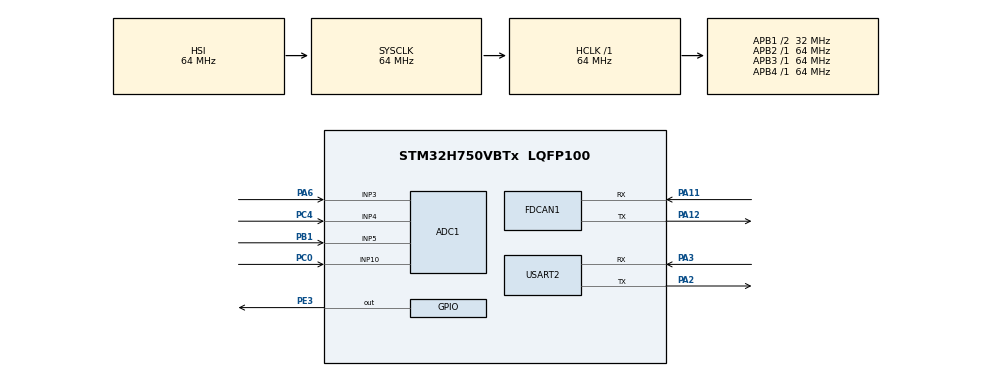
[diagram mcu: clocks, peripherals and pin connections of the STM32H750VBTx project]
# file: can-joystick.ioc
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ADC1.Channel-3\#ChannelRegularConversion=ADC_CHANNEL_3
ADC1.Channel-4\#ChannelRegularConversion=ADC_CHANNEL_4
ADC1.Channel-5\#ChannelRegularConversion=ADC_CHANNEL_5
ADC1.Channel-6\#ChannelRegularConversion=ADC_CHANNEL_10
ADC1.ConversionDataManagement=ADC_CONVERSIONDATA_DMA_ONESHOT
ADC1.NbrOfConversion=4
ADC1.NbrOfConversionFlag=1
ADC1.OffsetNumber-3\#ChannelRegularConversion=ADC_OFFSET_NONE
ADC1.OffsetNumber-4\#ChannelRegularConversion=ADC_OFFSET_NONE
ADC1.OffsetNumber-5\#ChannelRegularConversion=ADC_OFFSET_NONE
ADC1.OffsetNumber-6\#ChannelRegularConversion=ADC_OFFSET_NONE
ADC1.OffsetSignedSaturation-3\#ChannelRegularConversion=DISABLE
ADC1.OffsetSignedSaturation-4\#ChannelRegularConversion=DISABLE
ADC1.OffsetSignedSaturation-5\#ChannelRegularConversion=DISABLE
ADC1.OffsetSignedSaturation-6\#ChannelRegularConversion=DISABLE
ADC1.OversamplingMode=ENABLE
ADC1.Rank-3\#ChannelRegularConversion=1
ADC1.Rank-4\#ChannelRegularConversion=2
ADC1.Rank-5\#ChannelRegularConversion=3
ADC1.Rank-6\#ChannelRegularConversion=4
ADC1.Ratio=1024
ADC1.RightBitShift=ADC_RIGHTBITSHIFT_10
ADC1.SamplingTime-3\#ChannelRegularConversion=ADC_SAMPLETIME_8CYCLES_5
ADC1.SamplingTime-4\#ChannelRegularConversion=ADC_SAMPLETIME_8CYCLES_5
ADC1.SamplingTime-5\#ChannelRegularConversion=ADC_SAMPLETIME_8CYCLES_5
ADC1.SamplingTime-6\#ChannelRegularConversion=ADC_SAMPLETIME_1CYCLE_5
ADC1.master=1
CORTEX_M7.default_mode_Activation=1
Dma.ADC1.0.Direction=DMA_PERIPH_TO_MEMORY
Dma.ADC1.0.EventEnable=DISABLE
Dma.ADC1.0.FIFOMode=DMA_FIFOMODE_ENABLE
Dma.ADC1.0.FIFOThreshold=DMA_FIFO_THRESHOLD_FULL
Dma.ADC1.0.Instance=DMA1_Stream0
Dma.ADC1.0.MemBurst=DMA_MBURST_SINGLE
Dma.ADC1.0.MemDataAlignment=DMA_MDATAALIGN_HALFWORD
Dma.ADC1.0.MemInc=DMA_MINC_ENABLE
Dma.ADC1.0.Mode=DMA_NORMAL
Dma.ADC1.0.PeriphBurst=DMA_PBURST_SINGLE
Dma.ADC1.0.PeriphDataAlignment=DMA_PDATAALIGN_HALFWORD
Dma.ADC1.0.PeriphInc=DMA_PINC_DISABLE
Dma.ADC1.0.Polarity=HAL_DMAMUX_REQ_GEN_RISING
Dma.ADC1.0.Priority=DMA_PRIORITY_LOW
Dma.ADC1.0.RequestNumber=1
Dma.ADC1.0.SignalID=NONE
Dma.ADC1.0.SyncEnable=DISABLE
Dma.ADC1.0.SyncPolarity=HAL_DMAMUX_SYNC_NO_EVENT
Dma.ADC1.0.SyncRequestNumber=1
Dma.ADC1.0.SyncSignalID=NONE
Dma.Request0=ADC1
FDCAN1.AutoRetransmission=DISABLE
FDCAN1.CalculateBaudRateNominal=500000
FDCAN1.CalculateTimeBitNominal=2000
FDCAN1.CalculateTimeQuantumNominal=200.0
FDCAN1.NominalPrescaler=2
FDCAN1.NominalTimeSeg1=7
FDCAN1.NominalTimeSeg2=2
FDCAN1.TxBuffersNbr=1
FDCAN1.TxFifoQueueElmtsNbr=4
Mcu.Family=STM32H7
Mcu.Name=STM32H750VBTx
Mcu.Package=LQFP100
NVIC.DMA1_Stream0_IRQn=true\:0\:0\:false\:false\:true\:false\:true\:true
NVIC.PriorityGroup=NVIC_PRIORITYGROUP_4
PA11.Mode=FDCAN_Activate
PA11.Signal=FDCAN1_RX
PA12.Mode=FDCAN_Activate
PA12.Signal=FDCAN1_TX
PA2.Mode=Asynchronous
PA2.Signal=USART2_TX
PA3.Mode=Asynchronous
PA3.Signal=USART2_RX
PA6.Signal=ADCx_INP3
PB1.Signal=ADCx_INP5
PC0.Signal=ADCx_INP10
PC4.Signal=ADCx_INP4
PE3.Signal=GPIO_Output
ProjectManager.HeapSize=0x200
ProjectManager.StackSize=0x400
ProjectManager.TargetToolchain=STM32CubeIDE
RCC.ADCFreq_Value=8000000
RCC.APB1Freq_Value=32000000
RCC.APB2Freq_Value=64000000
RCC.APB3Freq_Value=64000000
RCC.APB4Freq_Value=64000000
RCC.CortexFreq_Value=64000000
RCC.D2PPRE1=RCC_APB1_DIV2
RCC.DIVM1=4
RCC.DIVM2=4
RCC.DIVN1=10
RCC.DIVN2=10
RCC.DIVP2=20
RCC.DIVQ1=16
RCC.HCLKFreq_Value=64000000
RCC.PLL1_VCI_Range=RCC_PLL1VCIRANGE_3
RCC.PLL2FRACN=0
RCC.PLLFRACN=0
RCC.SYSCLKFreq_VALUE=64000000
RCC.USBFreq_Value=10000000
SH.ADCx_INP10.0=ADC1_INP10,IN10-Single-Ended
SH.ADCx_INP3.0=ADC1_INP3,IN3-Single-Ended
SH.ADCx_INP4.0=ADC1_INP4,IN4-Single-Ended
SH.ADCx_INP5.0=ADC1_INP5,IN5-Single-Ended
USART2.TxPinLevelInvertParam=ADVFEATURE_TXINV_ENABLE
USART2.VirtualMode-Asynchronous=VM_ASYNC
VP_MEMORYMAP_VS_MEMORYMAP.Mode=CurAppReg
board=custom

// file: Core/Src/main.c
/* USER CODE BEGIN Header */
/**
  ******************************************************************************
  * @file           : main.c
  * @brief          : Main program body
  ******************************************************************************
  * @attention
  *
  * Copyright (c) 2025 STMicroelectronics.
  * All rights reserved.
  *
  * This software is licensed under terms that can be found in the LICENSE file
  * in the root directory of this software component.
  * If no LICENSE file comes with this software, it is provided AS-IS.
  *
  ******************************************************************************
  */
/* USER CODE END Header */
#include "main.h"

/* USER CODE BEGIN Includes */
#include "stdio.h"

#include "joystick.h"
/* USER CODE END Includes */

/* USER CODE BEGIN PD */
#define BAUD_RATE_125 8
#define BAUD_RATE_250 4
#define BAUD_RATE_500 2
#define BAUD_RATE_1000 1
/* USER CODE END PD */

ADC_HandleTypeDef hadc1;
DMA_HandleTypeDef hdma_adc1;

FDCAN_HandleTypeDef hfdcan1;

UART_HandleTypeDef huart2;

/* USER CODE BEGIN PV */

// DMA transfer status
volatile uint32_t adc1_conversion_complete_flag = 0;
volatile uint32_t adc1_conversion_error_code = 0;

FDCAN_RxHeaderTypeDef RxHeader;
uint8_t RxData[8];
FDCAN_TxHeaderTypeDef TxHeader;
uint8_t TxData[8];

/* USER CODE END PV */

void SystemClock_Config(void);
static void MPU_Config(void);
static void MX_GPIO_Init(void);
static void MX_DMA_Init(void);
static void MX_USART2_UART_Init(void);
static void MX_ADC1_Init(void);
static void MX_FDCAN1_Init(void);

/* USER CODE BEGIN 0 */

void HAL_ADC_ErrorCallback(ADC_HandleTypeDef *hadc)
{
	adc1_conversion_error_code = 1;
}

void HAL_ADC_ConvCpltCallback(ADC_HandleTypeDef *hadc)
{
	adc1_conversion_complete_flag = 1;
}

void HAL_ADC_ConvHalfCpltCallback(ADC_HandleTypeDef *hadc)
{
	adc1_conversion_complete_flag = 1;
}

static void LED_Blink(uint32_t Hdelay,uint32_t Ldelay)
{
	HAL_GPIO_WritePin(GPIOE, GPIO_PIN_3, GPIO_PIN_SET);
	HAL_Delay(Hdelay - 1);
	HAL_GPIO_WritePin(GPIOE, GPIO_PIN_3, GPIO_PIN_RESET);
	HAL_Delay(Ldelay - 1);
	//HAL_DMA_IRQHandler(hdma)
}

/* USER CODE END 0 */

int main(void)
{

  /* USER CODE BEGIN 1 */
  //__enable_irq();
  /* USER CODE END 1 */

  /* MPU Configuration--------------------------------------------------------*/
  MPU_Config();

  /* MCU Configuration--------------------------------------------------------*/

  /* Reset of all peripherals, Initializes the Flash interface and the Systick. */
  HAL_Init();

  /* Configure the system clock */
  SystemClock_Config();

  /* Initialize all configured peripherals */
  MX_GPIO_Init();
  MX_DMA_Init();
  MX_USART2_UART_Init();
  MX_ADC1_Init();
  MX_FDCAN1_Init();
  /* USER CODE BEGIN 2 */
  RetargetInit(&huart2);
  /* USER CODE END 2 */

  /* Infinite loop */
  /* USER CODE BEGIN WHILE */
  uint32_t ctr = 0;
  uint16_t adc_read = 0;

  struct joystick_t joy = joystick_new(&hadc1);

  FDCAN_Config();

  HAL_ADCEx_Calibration_Start(&hadc1, ADC_CALIB_OFFSET, ADC_SINGLE_ENDED);

  while (1)
  {
    /* USER CODE END WHILE */

    /* USER CODE BEGIN 3 */
	  LED_Blink(100,100);

	  // HAL_ADC_Start(&hadc1);
	  HAL_Delay(100);

	  joystick_read(&joy);

	  adc_read = joystick_get_sensor1_mV(&joy);
	  printf("ADC out: %u, %u, %i, %i, %u\r\n", joystick_get_sensor1_mV(&joy), joystick_get_sensor2_mV(&joy), joystick_get_throttle1_permille(&joy), joystick_get_throttle2_permille(&joy), joystick_get_vcc_mV(&joy));
//
//	  //HAL_ADC_Start_DMA(&hadc1,(uint32_t*)&adc_read,1);
//	  if (HAL_ADC_PollForConversion(&hadc1, 10) == 0) {
//		  uint32_t v = HAL_ADC_GetValue(&hadc1);
//		  printf("ADC out: %u\r\n", v);
//	  }
////	  //printf("%lu\n", adc_read);
//	  HAL_ADC_Stop(&hadc1);
//	  //printf();

	  memcpy(TxData, &adc_read, 2);
	  /* Start the Transmission process */
	  if (HAL_FDCAN_AddMessageToTxFifoQ(&hfdcan1, &TxHeader, TxData) != HAL_OK)
	  {
	      /* Transmission request Error */
		  Error_Handler();
	  }
	  //uint8_t b = 0x01;
	  //HAL_UART_Transmit(&huart2, (uint8_t *) "TEST\n", 5, HAL_MAX_DELAY);
	  //HAL_UART_Transmit(&huart2, (uint8_t *) &b, 1, HAL_MAX_DELAY);
  }
  /* USER CODE END 3 */
}

void SystemClock_Config(void)
{
  RCC_OscInitTypeDef RCC_OscInitStruct = {0};
  RCC_ClkInitTypeDef RCC_ClkInitStruct = {0};

  /** Supply configuration update enable
  */
  HAL_PWREx_ConfigSupply(PWR_LDO_SUPPLY);

  /** Configure the main internal regulator output voltage
  */
  __HAL_PWR_VOLTAGESCALING_CONFIG(PWR_REGULATOR_VOLTAGE_SCALE3);

  while(!__HAL_PWR_GET_FLAG(PWR_FLAG_VOSRDY)) {}

  /** Initializes the RCC Oscillators according to the specified parameters
  * in the RCC_OscInitTypeDef structure.
  */
  RCC_OscInitStruct.OscillatorType = RCC_OSCILLATORTYPE_HSI;
  RCC_OscInitStruct.HSIState = RCC_HSI_DIV1;
  RCC_OscInitStruct.HSICalibrationValue = RCC_HSICALIBRATION_DEFAULT;
  RCC_OscInitStruct.PLL.PLLState = RCC_PLL_ON;
  RCC_OscInitStruct.PLL.PLLSource = RCC_PLLSOURCE_HSI;
  RCC_OscInitStruct.PLL.PLLM = 4;
  RCC_OscInitStruct.PLL.PLLN = 10;
  RCC_OscInitStruct.PLL.PLLP = 2;
  RCC_OscInitStruct.PLL.PLLQ = 16;
  RCC_OscInitStruct.PLL.PLLR = 2;
  RCC_OscInitStruct.PLL.PLLRGE = RCC_PLL1VCIRANGE_3;
  RCC_OscInitStruct.PLL.PLLVCOSEL = RCC_PLL1VCOMEDIUM;
  RCC_OscInitStruct.PLL.PLLFRACN = 0;
  if (HAL_RCC_OscConfig(&RCC_OscInitStruct) != HAL_OK)
  {
    Error_Handler();
  }

  /** Initializes the CPU, AHB and APB buses clocks
  */
  RCC_ClkInitStruct.ClockType = RCC_CLOCKTYPE_HCLK|RCC_CLOCKTYPE_SYSCLK
                              |RCC_CLOCKTYPE_PCLK1|RCC_CLOCKTYPE_PCLK2
                              |RCC_CLOCKTYPE_D3PCLK1|RCC_CLOCKTYPE_D1PCLK1;
  RCC_ClkInitStruct.SYSCLKSource = RCC_SYSCLKSOURCE_HSI;
  RCC_ClkInitStruct.SYSCLKDivider = RCC_SYSCLK_DIV1;
  RCC_ClkInitStruct.AHBCLKDivider = RCC_HCLK_DIV1;
  RCC_ClkInitStruct.APB3CLKDivider = RCC_APB3_DIV1;
  RCC_ClkInitStruct.APB1CLKDivider = RCC_APB1_DIV2;
  RCC_ClkInitStruct.APB2CLKDivider = RCC_APB2_DIV1;
  RCC_ClkInitStruct.APB4CLKDivider = RCC_APB4_DIV1;

  if (HAL_RCC_ClockConfig(&RCC_ClkInitStruct, FLASH_LATENCY_1) != HAL_OK)
  {
    Error_Handler();
  }
}

static void MX_ADC1_Init(void)
{

  ADC_MultiModeTypeDef multimode = {0};
  ADC_ChannelConfTypeDef sConfig = {0};

  /** Common config
  */
  hadc1.Instance = ADC1;
  hadc1.Init.ClockPrescaler = ADC_CLOCK_ASYNC_DIV1;
  hadc1.Init.Resolution = ADC_RESOLUTION_16B;
  hadc1.Init.ScanConvMode = ADC_SCAN_ENABLE;
  hadc1.Init.EOCSelection = ADC_EOC_SINGLE_CONV;
  hadc1.Init.LowPowerAutoWait = DISABLE;
  hadc1.Init.ContinuousConvMode = DISABLE;
  hadc1.Init.NbrOfConversion = 4;
  hadc1.Init.DiscontinuousConvMode = DISABLE;
  hadc1.Init.ExternalTrigConv = ADC_SOFTWARE_START;
  hadc1.Init.ExternalTrigConvEdge = ADC_EXTERNALTRIGCONVEDGE_NONE;
  hadc1.Init.ConversionDataManagement = ADC_CONVERSIONDATA_DMA_ONESHOT;
  hadc1.Init.Overrun = ADC_OVR_DATA_PRESERVED;
  hadc1.Init.LeftBitShift = ADC_LEFTBITSHIFT_NONE;
  hadc1.Init.OversamplingMode = ENABLE;
  hadc1.Init.Oversampling.Ratio = 1024;
  hadc1.Init.Oversampling.RightBitShift = ADC_RIGHTBITSHIFT_10;
  hadc1.Init.Oversampling.TriggeredMode = ADC_TRIGGEREDMODE_SINGLE_TRIGGER;
  hadc1.Init.Oversampling.OversamplingStopReset = ADC_REGOVERSAMPLING_CONTINUED_MODE;
  if (HAL_ADC_Init(&hadc1) != HAL_OK)
  {
    Error_Handler();
  }

  /** Configure the ADC multi-mode
  */
  multimode.Mode = ADC_MODE_INDEPENDENT;
  if (HAL_ADCEx_MultiModeConfigChannel(&hadc1, &multimode) != HAL_OK)
  {
    Error_Handler();
  }

  /** Configure Regular Channel
  */
  sConfig.Channel = ADC_CHANNEL_3;
  sConfig.Rank = ADC_REGULAR_RANK_1;
  sConfig.SamplingTime = ADC_SAMPLETIME_8CYCLES_5;
  sConfig.SingleDiff = ADC_SINGLE_ENDED;
  sConfig.OffsetNumber = ADC_OFFSET_NONE;
  sConfig.Offset = 0;
  sConfig.OffsetSignedSaturation = DISABLE;
  if (HAL_ADC_ConfigChannel(&hadc1, &sConfig) != HAL_OK)
  {
    Error_Handler();
  }

  /** Configure Regular Channel
  */
  sConfig.Channel = ADC_CHANNEL_4;
  sConfig.Rank = ADC_REGULAR_RANK_2;
  if (HAL_ADC_ConfigChannel(&hadc1, &sConfig) != HAL_OK)
  {
    Error_Handler();
  }

  /** Configure Regular Channel
  */
  sConfig.Channel = ADC_CHANNEL_5;
  sConfig.Rank = ADC_REGULAR_RANK_3;
  if (HAL_ADC_ConfigChannel(&hadc1, &sConfig) != HAL_OK)
  {
    Error_Handler();
  }

  /** Configure Regular Channel
  */
  sConfig.Channel = ADC_CHANNEL_10;
  sConfig.Rank = ADC_REGULAR_RANK_4;
  sConfig.SamplingTime = ADC_SAMPLETIME_1CYCLE_5;
  if (HAL_ADC_ConfigChannel(&hadc1, &sConfig) != HAL_OK)
  {
    Error_Handler();
  }

}

static void MX_FDCAN1_Init(void)
{

  hfdcan1.Instance = FDCAN1;
  hfdcan1.Init.FrameFormat = FDCAN_FRAME_CLASSIC;
  hfdcan1.Init.Mode = FDCAN_MODE_NORMAL;
  hfdcan1.Init.AutoRetransmission = DISABLE;
  hfdcan1.Init.TransmitPause = DISABLE;
  hfdcan1.Init.ProtocolException = DISABLE;
  hfdcan1.Init.NominalPrescaler = 2;
  hfdcan1.Init.NominalSyncJumpWidth = 1;
  hfdcan1.Init.NominalTimeSeg1 = 7;
  hfdcan1.Init.NominalTimeSeg2 = 2;
  hfdcan1.Init.DataPrescaler = 1;
  hfdcan1.Init.DataSyncJumpWidth = 1;
  hfdcan1.Init.DataTimeSeg1 = 1;
  hfdcan1.Init.DataTimeSeg2 = 1;
  hfdcan1.Init.MessageRAMOffset = 0;
  hfdcan1.Init.StdFiltersNbr = 0;
  hfdcan1.Init.ExtFiltersNbr = 0;
  hfdcan1.Init.RxFifo0ElmtsNbr = 0;
  hfdcan1.Init.RxFifo0ElmtSize = FDCAN_DATA_BYTES_8;
  hfdcan1.Init.RxFifo1ElmtsNbr = 0;
  hfdcan1.Init.RxFifo1ElmtSize = FDCAN_DATA_BYTES_8;
  hfdcan1.Init.RxBuffersNbr = 0;
  hfdcan1.Init.RxBufferSize = FDCAN_DATA_BYTES_8;
  hfdcan1.Init.TxEventsNbr = 0;
  hfdcan1.Init.TxBuffersNbr = 1;
  hfdcan1.Init.TxFifoQueueElmtsNbr = 4;
  hfdcan1.Init.TxFifoQueueMode = FDCAN_TX_FIFO_OPERATION;
  hfdcan1.Init.TxElmtSize = FDCAN_DATA_BYTES_8;
  if (HAL_FDCAN_Init(&hfdcan1) != HAL_OK)
  {
    Error_Handler();
  }
  /* USER CODE BEGIN FDCAN1_Init 2 */
  // Set the baud rate using pre-scaler
  //hfdcan1.Init.NominalPrescaler = BAUD_RATE_500;
  /* USER CODE END FDCAN1_Init 2 */

}

static void MX_USART2_UART_Init(void)
{

  huart2.Instance = USART2;
  huart2.Init.BaudRate = 115200;
  huart2.Init.WordLength = UART_WORDLENGTH_8B;
  huart2.Init.StopBits = UART_STOPBITS_1;
  huart2.Init.Parity = UART_PARITY_NONE;
  huart2.Init.Mode = UART_MODE_TX_RX;
  huart2.Init.HwFlowCtl = UART_HWCONTROL_NONE;
  huart2.Init.OverSampling = UART_OVERSAMPLING_16;
  huart2.Init.OneBitSampling = UART_ONE_BIT_SAMPLE_DISABLE;
  huart2.Init.ClockPrescaler = UART_PRESCALER_DIV1;
  huart2.AdvancedInit.AdvFeatureInit = UART_ADVFEATURE_TXINVERT_INIT;
  huart2.AdvancedInit.TxPinLevelInvert = UART_ADVFEATURE_TXINV_ENABLE;
  if (HAL_UART_Init(&huart2) != HAL_OK)
  {
    Error_Handler();
  }
  if (HAL_UARTEx_SetTxFifoThreshold(&huart2, UART_TXFIFO_THRESHOLD_1_8) != HAL_OK)
  {
    Error_Handler();
  }
  if (HAL_UARTEx_SetRxFifoThreshold(&huart2, UART_RXFIFO_THRESHOLD_1_8) != HAL_OK)
  {
    Error_Handler();
  }
  if (HAL_UARTEx_DisableFifoMode(&huart2) != HAL_OK)
  {
    Error_Handler();
  }

}

static void MX_DMA_Init(void)
{

  /* DMA controller clock enable */
  __HAL_RCC_DMA1_CLK_ENABLE();

  /* DMA interrupt init */
  /* DMA1_Stream0_IRQn interrupt configuration */
  HAL_NVIC_SetPriority(DMA1_Stream0_IRQn, 0, 0);
  HAL_NVIC_EnableIRQ(DMA1_Stream0_IRQn);

}

static void MX_GPIO_Init(void)
{
  GPIO_InitTypeDef GPIO_InitStruct = {0};

  /* GPIO Ports Clock Enable */
  __HAL_RCC_GPIOE_CLK_ENABLE();
  __HAL_RCC_GPIOC_CLK_ENABLE();
  __HAL_RCC_GPIOA_CLK_ENABLE();
  __HAL_RCC_GPIOB_CLK_ENABLE();

  /*Configure GPIO pin Output Level */
  HAL_GPIO_WritePin(GPIOE, GPIO_PIN_3, GPIO_PIN_RESET);

  /*Configure GPIO pin : PE3 */
  GPIO_InitStruct.Pin = GPIO_PIN_3;
  GPIO_InitStruct.Mode = GPIO_MODE_OUTPUT_PP;
  GPIO_InitStruct.Pull = GPIO_NOPULL;
  GPIO_InitStruct.Speed = GPIO_SPEED_FREQ_LOW;
  HAL_GPIO_Init(GPIOE, &GPIO_InitStruct);

}

/* USER CODE BEGIN 4 */

void FDCAN_Config() {
//	FDCAN_FilterTypeDef sFilterConfig;
//
//	sFilterConfig.IdType = FDCAN_FRAME_CLASSIC;
//	sFilterConfig.FilterIndex = 0;                 // id of this filter
//	sFilterConfig.FilterType = FDCAN_FILTER_RANGE; // the type of this filter
//	sFilterConfig.FilterID1 = 0x300;               // start of range
//	sFilterConfig.FilterID1 = 0x310;               // end of range
//
//	if (HAL_FDCAN_ConfigFilter(&hfdcan1, &sFilterConfig) != HAL_OK)
//	{
//		Error_Handler();
//	}

	/* Start the FDCAN module */
    if (HAL_FDCAN_Start(&hfdcan1) != HAL_OK)
    {
    	Error_Handler();
    }

    /* Prepare Tx Header for 4 byte message*/
    TxHeader.Identifier = 0x305;
    TxHeader.IdType = FDCAN_STANDARD_ID;
    TxHeader.TxFrameType = FDCAN_DATA_FRAME;
    TxHeader.DataLength = FDCAN_DLC_BYTES_4;
    TxHeader.ErrorStateIndicator = FDCAN_ESI_PASSIVE;
    TxHeader.BitRateSwitch = FDCAN_BRS_OFF;
    TxHeader.FDFormat = FDCAN_CLASSIC_CAN;
    TxHeader.TxEventFifoControl = FDCAN_NO_TX_EVENTS;
    TxHeader.MessageMarker = 0;

}

/* USER CODE END 4 */

 /* MPU Configuration */

void MPU_Config(void)
{
  MPU_Region_InitTypeDef MPU_InitStruct = {0};

  /* Disables the MPU */
  HAL_MPU_Disable();

  /** Initializes and configures the Region and the memory to be protected
  */
  MPU_InitStruct.Enable = MPU_REGION_ENABLE;
  MPU_InitStruct.Number = MPU_REGION_NUMBER0;
  MPU_InitStruct.BaseAddress = 0x0;
  MPU_InitStruct.Size = MPU_REGION_SIZE_4GB;
  MPU_InitStruct.SubRegionDisable = 0x87;
  MPU_InitStruct.TypeExtField = MPU_TEX_LEVEL0;
  MPU_InitStruct.AccessPermission = MPU_REGION_NO_ACCESS;
  MPU_InitStruct.DisableExec = MPU_INSTRUCTION_ACCESS_DISABLE;
  MPU_InitStruct.IsShareable = MPU_ACCESS_SHAREABLE;
  MPU_InitStruct.IsCacheable = MPU_ACCESS_NOT_CACHEABLE;
  MPU_InitStruct.IsBufferable = MPU_ACCESS_NOT_BUFFERABLE;

  HAL_MPU_ConfigRegion(&MPU_InitStruct);
  /* Enables the MPU */
  HAL_MPU_Enable(MPU_PRIVILEGED_DEFAULT);

}

void Error_Handler(void)
{
  /* USER CODE BEGIN Error_Handler_Debug */
  /* User can add his own implementation to report the HAL error return state */
  __disable_irq();
  //printf("ERROR:");
  while (1)
  {
  }
  /* USER CODE END Error_Handler_Debug */
}
